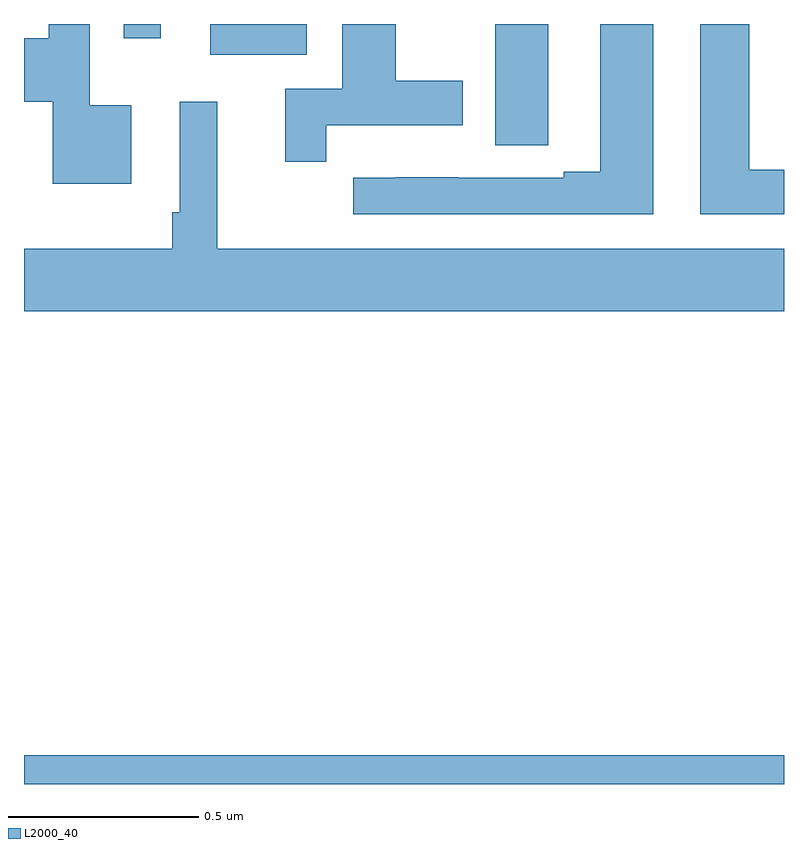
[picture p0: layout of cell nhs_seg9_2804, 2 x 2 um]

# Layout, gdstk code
import gdstk
lib = gdstk.Library(unit=1e-6, precision=1e-09)
def R(c, l, rs):  # rectangles x0, y0, x1, y1
    for r in rs: c.add(gdstk.rectangle(r[:2], r[2:], *l))
def P(c, l, *ps):  # polygons
    for p in ps: c.add(gdstk.Polygon(p, *l))
L2000_40 = (2000, 40)

nhs_seg9_2804 = lib.new_cell('nhs_seg9_2804')
R(nhs_seg9_2804, L2000_40, [(145,1204.5,147,1204.576), (145.49,1206.419,145.744,1206.5), (145.263,1206.462,145.36,1206.5)])
P(nhs_seg9_2804, L2000_40, [(146.656,1206.5),(146.516,1206.5),(146.516,1206.111),(146.42,1206.111),(146.42,1206.096),(146.144,1206.096),(146.144,1206.097),(145.978,1206.097),(145.978,1206.096),(145.866,1206.096),(145.866,1206),(146.656,1206)],
  [(145.796,1206.234),(146.155,1206.234),(146.155,1206.351),(145.978,1206.351),(145.978,1206.5),(145.838,1206.5),(145.838,1206.33),(145.688,1206.33),(145.688,1206.138),(145.796,1206.138)],
  [(147,1206.116),(146.908,1206.116),(146.908,1206.5),(146.78,1206.5),(146.78,1206),(147,1206)],
  [(145.282,1206.286),(145.173,1206.286),(145.173,1206.5),(145.065,1206.5),(145.065,1206.462),(145,1206.462),(145,1206.296),(145.076,1206.296),(145.076,1206.08),(145.282,1206.08)],
  [(146.379,1206.289),(146.38,1206.289),(146.38,1206.5),(146.24,1206.5),(146.24,1206.181),(146.379,1206.181)],
  [(147,1205.908),(145.508,1205.908),(145.508,1206.295),(145.41,1206.295),(145.41,1206.004),(145.39,1206.004),(145.39,1205.908),(145,1205.908),(145,1205.744),(147,1205.744)])

lib.write_gds('nhs_seg9_2804.gds')
